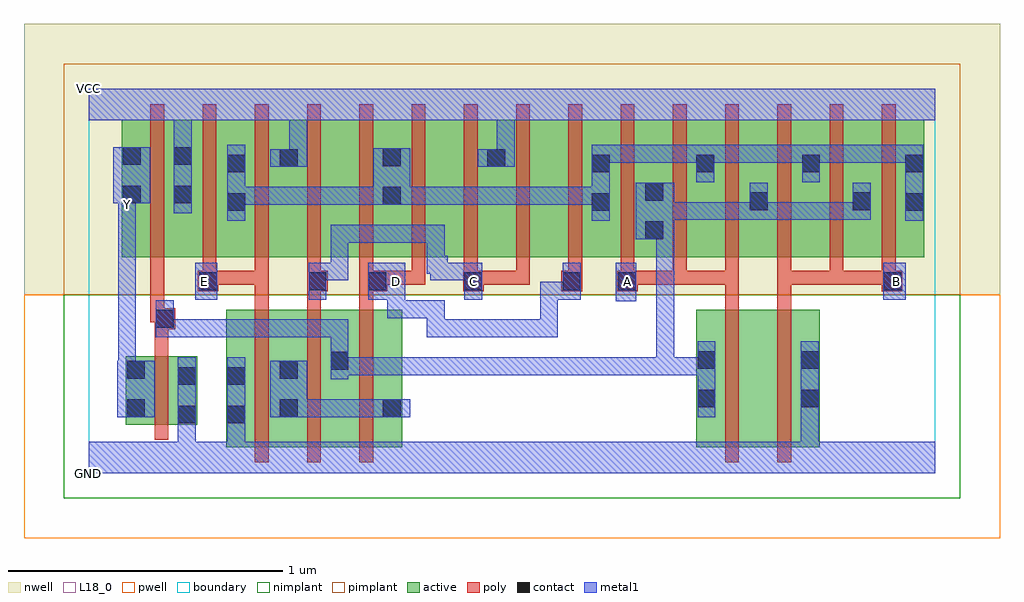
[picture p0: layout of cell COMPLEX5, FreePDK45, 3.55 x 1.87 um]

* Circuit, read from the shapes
.subckt COMPLEX5 A B C D E GND VCC Y
M1 GND n1 Y VSUBS nfet w=0.25u l=0.05u
M2 n2 E GND VSUBS nfet w=0.5u l=0.05u
M3 n1 C n2 VSUBS nfet w=0.5u l=0.05u
M4 n2 D n1 VSUBS nfet w=0.5u l=0.05u
M5 n3 A n1 VSUBS nfet w=0.5u l=0.05u
M6 GND B n3 VSUBS nfet w=0.5u l=0.05u
M7 VCC n1 Y n4 pfet w=0.5u l=0.05u
M8 n5 E VCC n4 pfet w=0.5u l=0.05u m=2
M9 n6 C VCC n4 pfet w=0.5u l=0.05u
M10 n5 D n6 n4 pfet w=0.5u l=0.05u
M11 n7 D n5 n4 pfet w=0.5u l=0.05u
M12 VCC C n7 n4 pfet w=0.5u l=0.05u
M13 n8 C VCC n4 pfet w=0.5u l=0.05u
M14 n5 D n8 n4 pfet w=0.5u l=0.05u
M15 n1 A n5 n4 pfet w=0.5u l=0.05u m=3
M16 n5 B n1 n4 pfet w=0.5u l=0.05u m=3
.ends

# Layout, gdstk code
import gdstk
lib = gdstk.Library(unit=1e-6, precision=1e-09)
def R(c, l, rs):  # rectangles x0, y0, x1, y1
    for r in rs: c.add(gdstk.rectangle(r[:2], r[2:], *l))
def A(c, l, x, y, w, h, nx, ny, dx, dy):  # array of equal rectangles
    R(c, l, [(x+i*dx, y+j*dy, x+i*dx+w, y+j*dy+h) for i in range(nx) for j in range(ny)])
active = (1, 0)
pwell = (2, 0)
nwell = (3, 0)
nimplant = (4, 0)
pimplant = (5, 0)
poly = (9, 0)
contact = (10, 0)
metal1 = (11, 0)
L18_0 = (18, 0)
boundary = (235, 0)

complex5 = lib.new_cell('COMPLEX5')
A(complex5, active, 0.915, 0.787, 0.225, 0.5, 3, 1, 0.38, 0)
R(complex5, active, [(0.5,0.095,0.575,0.595), (0.5,0.095,0.765,0.595), (0.69,0.095,0.765,0.592), (0.69,0.095,0.95,0.595), (0.875,0.095,1.14,0.595), (0.875,0.095,0.95,0.592), (1.065,0.095,1.14,0.595), (2.21,0.095,2.435,0.595), (2.21,0.095,2.315,0.595), (2.435,0.095,2.66,0.595), (2.585,0.095,2.66,0.595), (0.135,0.177,0.395,0.427), (0.32,0.177,0.395,0.427), (0.135,0.2,0.21,0.427), (0.12,0.787,0.38,1.287), (0.12,0.787,0.195,1.2), (0.305,0.787,0.575,1.287), (0.5,0.787,0.765,1.287), (0.69,0.787,0.915,1.287), (1.065,0.787,1.295,1.287), (1.445,0.787,1.675,1.287), (1.825,0.787,2.095,1.287), (2.02,0.787,2.28,1.287), (2.205,0.787,2.475,1.287), (2.4,0.787,2.665,1.287), (2.59,0.787,2.85,1.287), (2.775,0.787,3.04,1.287), (2.965,0.787,3.04,1.2), (0.305,0.807,0.38,1.205), (0.5,0.807,0.575,1.2), (0.69,0.807,0.765,1.242), (1.065,0.807,1.14,1.2), (1.445,0.807,1.52,1.205), (1.825,0.807,1.9,1.2), (2.02,0.807,2.095,1.07), (2.205,0.807,2.28,1.2), (2.4,0.807,2.475,1.07), (2.59,0.807,2.665,1.2), (2.775,0.807,2.85,1.07)])
R(complex5, pwell, [(-0.235,-0.235,3.315,0.65)])
R(complex5, nwell, [(-0.235,0.65,3.315,1.635)])
R(complex5, nimplant, [(-0.09,-0.09,3.17,0.65)])
R(complex5, pimplant, [(-0.09,0.65,3.17,1.49)])
A(complex5, poly, 0.605, 0.04, 0.05, 0.61, 3, 1, 0.19, 0)
A(complex5, poly, 0.415, 0.687, 0.05, 0.095, 14, 1, 0.19, 0)
A(complex5, poly, 0.225, 0.732, 0.05, 0.61, 15, 1, 0.19, 0)
R(complex5, poly, [(2.315,0.04,2.365,0.65), (2.505,0.04,2.555,0.65), (0.24,0.122,0.29,0.482), (0.24,0.432,0.29,0.575), (0.24,0.525,0.315,0.6), (0.225,0.55,0.275,0.782), (0.225,0.55,0.29,0.6), (0.24,0.55,0.29,0.6), (0.605,0.6,0.655,0.737), (0.795,0.6,0.845,0.712), (0.985,0.6,1.035,0.712), (2.315,0.6,2.365,0.737), (2.505,0.6,2.555,0.737), (0.397,0.662,0.472,0.737), (0.795,0.662,0.845,0.712), (0.795,0.662,0.845,0.712), (0.795,0.662,0.87,0.737), (0.985,0.662,1.087,0.737), (1.362,0.662,1.437,0.737), (1.72,0.662,1.795,0.737), (1.922,0.662,1.997,0.737), (2.885,0.662,2.96,0.737), (0.422,0.687,0.655,0.737), (0.605,0.687,0.655,0.737), (0.605,0.687,0.655,0.737), (0.605,0.687,0.655,0.737), (0.605,0.687,0.655,0.737), (0.605,0.687,0.655,0.737), (0.985,0.687,1.035,0.737), (0.985,0.687,1.035,0.737), (0.985,0.687,1.035,0.737), (0.985,0.687,1.035,0.737), (0.985,0.687,1.225,0.737), (1.175,0.687,1.225,0.737), (1.387,0.687,1.437,0.737), (1.387,0.687,1.437,0.737), (1.387,0.687,1.605,0.737), (1.555,0.687,1.605,0.737), (1.745,0.687,1.795,0.737), (1.745,0.687,1.795,0.737), (1.947,0.687,1.997,0.737), (1.947,0.687,1.997,0.737), (1.947,0.687,2.175,0.737), (2.125,0.687,2.175,0.737), (2.125,0.687,2.365,0.737), (2.315,0.687,2.365,0.737), (2.315,0.687,2.365,0.737), (2.315,0.687,2.365,0.737), (2.315,0.687,2.365,0.737), (2.315,0.687,2.365,0.737), (2.505,0.687,2.555,0.737), (2.505,0.687,2.555,0.737), (2.505,0.687,2.555,0.737), (2.505,0.687,2.745,0.737), (2.695,0.687,2.745,0.737), (2.695,0.687,2.745,0.737), (2.695,0.687,2.745,0.737), (2.695,0.687,2.935,0.737), (2.885,0.687,2.935,0.737), (2.885,0.687,2.935,0.737)])
R(complex5, contact, [(0.325,0.182,0.39,0.247), (0.505,0.182,0.57,0.247), (0.14,0.205,0.205,0.27), (0.695,0.205,0.76,0.27), (1.07,0.205,1.135,0.27), (2.215,0.24,2.28,0.305), (2.59,0.24,2.655,0.305), (0.325,0.322,0.39,0.387), (0.505,0.322,0.57,0.387), (0.14,0.345,0.205,0.41), (0.695,0.345,0.76,0.41), (0.88,0.377,0.945,0.442), (2.215,0.38,2.28,0.445), (2.59,0.38,2.655,0.445), (0.245,0.53,0.31,0.595), (0.402,0.667,0.467,0.732), (0.8,0.667,0.865,0.732), (1.017,0.667,1.082,0.732), (1.367,0.667,1.432,0.732), (1.725,0.667,1.79,0.732), (1.927,0.667,1.992,0.732), (2.89,0.667,2.955,0.732), (2.025,0.852,2.09,0.917), (0.505,0.955,0.57,1.02), (1.83,0.955,1.895,1.02), (2.97,0.955,3.035,1.02), (2.405,0.957,2.47,1.022), (2.78,0.957,2.845,1.022), (1.07,0.977,1.135,1.042), (0.125,0.982,0.19,1.047), (0.31,0.982,0.375,1.047), (2.025,0.992,2.09,1.057), (0.505,1.095,0.57,1.16), (1.83,1.095,1.895,1.16), (2.21,1.095,2.275,1.16), (2.595,1.095,2.66,1.16), (2.97,1.095,3.035,1.16), (0.695,1.115,0.76,1.18), (1.45,1.115,1.515,1.18), (1.07,1.117,1.135,1.182), (0.125,1.122,0.19,1.187), (0.31,1.122,0.375,1.187)])
A(complex5, metal1, 1.092, 0.357, 0.203, 0.065, 3, 1, 0.275, 0)
R(complex5, metal1, [(0,0,3.08,0.115), (0.325,0.05,0.39,0.212), (0.505,0.05,0.57,0.212), (2.59,0.05,2.655,0.27), (0.325,0.147,0.39,0.212), (0.325,0.147,0.39,0.212), (0.325,0.147,0.39,0.212), (0.325,0.147,0.39,0.212), (0.325,0.147,0.39,0.422), (0.505,0.147,0.57,0.422), (0.105,0.205,0.24,0.41), (0.66,0.205,0.795,0.41), (0.73,0.205,0.795,0.27), (0.73,0.205,0.795,0.27), (0.73,0.205,0.945,0.27), (0.88,0.205,0.945,0.27), (0.88,0.205,1.1,0.27), (1.035,0.205,1.1,0.27), (1.035,0.205,1.1,0.27), (1.035,0.205,1.17,0.27), (2.215,0.205,2.28,0.48), (2.59,0.205,2.655,0.48), (0.88,0.342,0.945,0.477), (0.107,0.345,0.172,0.977), (0.88,0.357,1.157,0.422), (1.092,0.357,1.157,0.422), (1.092,0.357,1.157,0.422), (1.092,0.357,1.157,0.422), (1.23,0.357,1.295,0.422), (1.23,0.357,1.307,0.422), (1.242,0.357,1.307,0.422), (1.242,0.357,1.432,0.422), (1.367,0.357,1.432,0.422), (1.505,0.357,1.57,0.422), (1.505,0.357,1.57,0.422), (1.505,0.357,1.57,0.422), (1.505,0.357,1.707,0.422), (1.642,0.357,1.707,0.422), (1.78,0.357,1.845,0.422), (1.78,0.357,1.845,0.422), (1.78,0.357,1.845,0.422), (1.78,0.357,1.982,0.422), (1.917,0.357,1.982,0.422), (1.917,0.357,2.13,0.422), (2.065,0.357,2.13,0.422), (2.065,0.357,2.13,0.422), (2.065,0.357,2.13,0.422), (2.065,0.357,2.13,0.422), (2.065,0.357,2.13,0.422), (2.065,0.357,2.28,0.422), (2.065,0.357,2.13,0.917), (0.88,0.412,0.945,0.56), (0.245,0.495,0.31,0.56), (0.245,0.495,0.31,0.56), (0.245,0.495,0.31,0.63), (0.245,0.495,0.447,0.56), (0.382,0.495,0.447,0.56), (0.382,0.495,0.587,0.56), (0.522,0.495,0.587,0.56), (0.522,0.495,0.587,0.56), (0.522,0.495,0.587,0.56), (0.522,0.495,0.807,0.56), (0.742,0.495,0.807,0.56), (0.742,0.495,0.807,0.56), (0.742,0.495,0.807,0.56), (0.742,0.495,0.945,0.56), (0.88,0.495,0.945,0.56), (1.23,0.495,1.295,0.63), (1.23,0.495,1.307,0.56), (1.242,0.495,1.307,0.56), (1.242,0.495,1.432,0.56), (1.367,0.495,1.432,0.56), (1.367,0.495,1.57,0.56), (1.505,0.495,1.57,0.56), (1.505,0.495,1.57,0.56), (1.505,0.495,1.57,0.56), (1.505,0.495,1.707,0.56), (1.642,0.495,1.707,0.697), (1.087,0.565,1.295,0.63), (1.087,0.565,1.152,0.697), (1.917,0.627,1.992,0.767), (0.387,0.632,0.467,0.767), (0.8,0.632,0.865,0.767), (1.017,0.632,1.152,0.767), (1.087,0.632,1.152,0.697), (1.367,0.632,1.432,0.767), (1.642,0.632,1.79,0.697), (1.725,0.632,1.79,0.767), (2.89,0.632,2.972,0.767), (0.8,0.702,0.945,0.767), (0.88,0.702,0.945,0.905), (1.242,0.702,1.432,0.767), (1.242,0.702,1.307,0.792), (1.23,0.727,1.307,0.792), (1.23,0.727,1.295,0.905), (0.88,0.84,1.082,0.905), (1.017,0.84,1.082,0.905), (1.017,0.84,1.082,0.905), (1.017,0.84,1.082,0.905), (1.017,0.84,1.295,0.905), (1.99,0.852,2.13,1.057), (2.065,0.852,2.13,0.917), (2.065,0.852,2.13,0.917), (0.107,0.912,0.172,1.047), (0.505,0.92,0.57,1.195), (1.83,0.92,1.895,1.195), (2.97,0.92,3.035,1.195), (2.065,0.922,2.13,0.987), (2.065,0.922,2.13,0.987), (2.065,0.922,2.332,0.987), (2.267,0.922,2.332,0.987), (2.267,0.922,2.47,0.987), (2.405,0.922,2.47,0.987), (2.405,0.922,2.47,0.987), (2.405,0.922,2.47,1.057), (2.405,0.922,2.68,0.987), (2.615,0.922,2.68,0.987), (2.615,0.922,2.68,0.987), (2.615,0.922,2.68,0.987), (2.615,0.922,2.817,0.987), (2.752,0.922,2.817,0.987), (2.752,0.922,2.845,0.987), (2.78,0.922,2.845,1.057), (0.31,0.947,0.375,1.222), (0.505,0.977,0.61,1.042), (0.545,0.977,0.61,1.042), (0.545,0.977,0.747,1.042), (0.682,0.977,0.747,1.042), (0.682,0.977,0.747,1.042), (0.682,0.977,0.747,1.042), (0.682,0.977,0.945,1.042), (0.88,0.977,0.945,1.042), (0.88,0.977,1.1,1.042), (1.035,0.977,1.1,1.042), (1.035,0.977,1.1,1.042), (1.035,0.977,1.17,1.182), (1.105,0.977,1.295,1.042), (1.23,0.977,1.295,1.042), (1.23,0.977,1.307,1.042), (1.242,0.977,1.307,1.042), (1.242,0.977,1.432,1.042), (1.367,0.977,1.432,1.042), (1.367,0.977,1.57,1.042), (1.505,0.977,1.57,1.042), (1.505,0.977,1.57,1.042), (1.505,0.977,1.57,1.042), (1.505,0.977,1.707,1.042), (1.642,0.977,1.707,1.042), (1.642,0.977,1.707,1.042), (1.642,0.977,1.707,1.042), (1.642,0.977,1.895,1.042), (0.09,0.982,0.225,1.187), (0.107,0.982,0.172,1.047), (0.107,0.982,0.172,1.047), (0.107,0.982,0.172,1.047), (2.21,1.06,2.275,1.195), (2.595,1.06,2.66,1.195), (0.66,1.115,0.795,1.18), (0.73,1.115,0.795,1.35), (1.415,1.115,1.55,1.18), (1.485,1.115,1.55,1.35), (1.83,1.13,1.895,1.195), (1.83,1.13,1.895,1.195), (1.83,1.13,1.982,1.195), (1.917,1.13,1.982,1.195), (1.917,1.13,2.13,1.195), (2.065,1.13,2.13,1.195), (2.065,1.13,2.13,1.195), (2.065,1.13,2.13,1.195), (2.065,1.13,2.275,1.195), (2.21,1.13,2.275,1.195), (2.21,1.13,2.275,1.195), (2.21,1.13,2.517,1.195), (2.452,1.13,2.517,1.195), (2.452,1.13,2.66,1.195), (2.595,1.13,2.66,1.195), (2.595,1.13,2.66,1.195), (2.595,1.13,2.817,1.195), (2.752,1.13,2.817,1.195), (2.752,1.13,2.817,1.195), (2.752,1.13,2.817,1.195), (2.752,1.13,3.035,1.195), (2.97,1.13,3.035,1.195), (2.97,1.13,3.035,1.195), (0.31,1.157,0.375,1.35), (0,1.285,3.08,1.4)])
R(complex5, L18_0, [(0,0,3.08,0.115), (0.325,0.05,0.39,0.212), (0.505,0.05,0.57,0.212), (2.59,0.05,2.655,0.27), (0.325,0.147,0.39,0.212), (0.325,0.147,0.39,0.212), (0.325,0.147,0.39,0.212), (0.325,0.147,0.39,0.212), (0.325,0.147,0.39,0.422), (0.505,0.147,0.57,0.422), (0.105,0.205,0.24,0.41), (2.59,0.205,2.655,0.48), (0.107,0.345,0.172,0.977), (1.23,0.495,1.295,0.63), (1.23,0.495,1.307,0.56), (1.242,0.495,1.307,0.56), (1.242,0.495,1.432,0.56), (1.367,0.495,1.432,0.56), (1.367,0.495,1.57,0.56), (1.505,0.495,1.57,0.56), (1.505,0.495,1.57,0.56), (1.505,0.495,1.57,0.56), (1.505,0.495,1.707,0.56), (1.642,0.495,1.707,0.697), (1.087,0.565,1.152,0.697), (1.087,0.565,1.295,0.63), (1.917,0.627,1.992,0.767), (0.387,0.632,0.467,0.767), (0.8,0.632,0.865,0.767), (1.017,0.632,1.152,0.767), (1.087,0.632,1.152,0.697), (1.367,0.632,1.432,0.767), (1.642,0.632,1.79,0.697), (1.725,0.632,1.79,0.767), (2.89,0.632,2.972,0.767), (0.387,0.667,0.452,0.732), (1.087,0.667,1.152,0.732), (1.367,0.667,1.432,0.732), (1.927,0.667,1.992,0.732), (2.907,0.667,2.972,0.732), (0.8,0.702,0.945,0.767), (0.88,0.702,0.945,0.905), (1.242,0.702,1.307,0.792), (1.242,0.702,1.432,0.767), (1.23,0.727,1.295,0.905), (1.23,0.727,1.307,0.792), (0.88,0.84,1.082,0.905), (1.017,0.84,1.082,0.905), (1.017,0.84,1.082,0.905), (1.017,0.84,1.082,0.905), (1.017,0.84,1.295,0.905), (0.107,0.912,0.172,1.047), (0.107,0.947,0.172,1.012), (0.31,0.947,0.375,1.222), (0.09,0.982,0.225,1.187), (0.107,0.982,0.172,1.047), (0.107,0.982,0.172,1.047), (0.107,0.982,0.172,1.047), (0.66,1.115,0.795,1.18), (0.73,1.115,0.795,1.35), (1.415,1.115,1.55,1.18), (1.485,1.115,1.55,1.35), (0.31,1.157,0.375,1.35), (0,1.285,3.08,1.4)])
R(complex5, boundary, [(0,0,3.08,1.4)])
complex5.add(gdstk.Label('A', (1.96,0.7), layer=11, texttype=0))
complex5.add(gdstk.Label('B', (2.94,0.7), layer=11, texttype=0))
complex5.add(gdstk.Label('C', (1.4,0.7), layer=11, texttype=0))
complex5.add(gdstk.Label('D', (1.12,0.7), layer=11, texttype=0))
complex5.add(gdstk.Label('E', (0.42,0.7), layer=11, texttype=0))
complex5.add(gdstk.Label('Y', (0.14,0.98), layer=11, texttype=0))
complex5.add(gdstk.Label('VCC', (0,1.4), layer=11, texttype=0))
complex5.add(gdstk.Label('GND', (0,0), layer=11, texttype=0))

lib.write_gds('COMPLEX5.gds')
